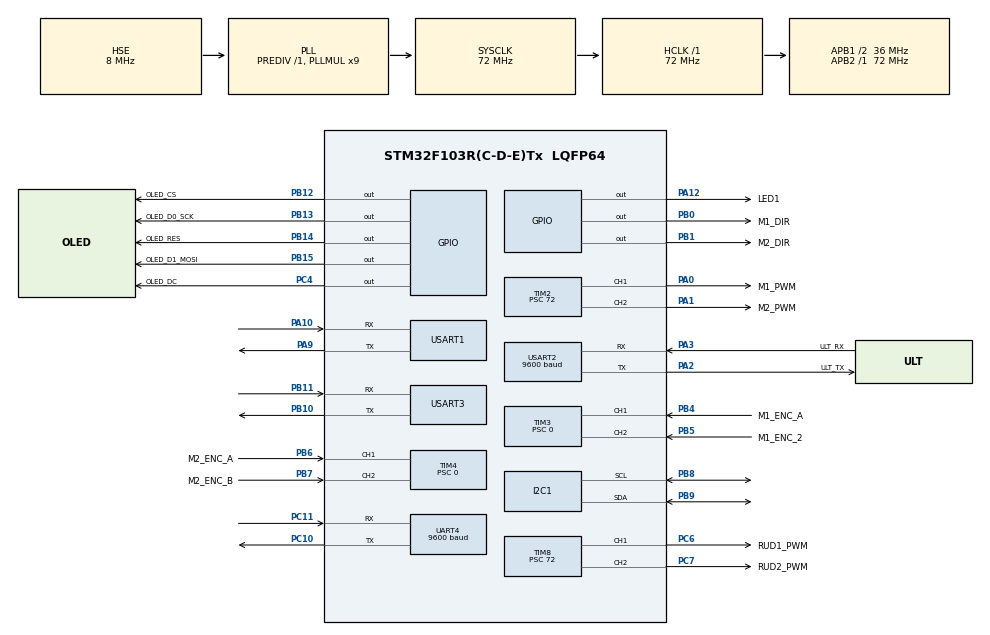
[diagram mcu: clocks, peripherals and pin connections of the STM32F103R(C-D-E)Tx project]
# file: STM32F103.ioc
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Dma.Request0=USART1_RX
Dma.Request1=USART1_TX
Dma.Request2=USART3_RX
Dma.Request3=USART3_TX
Dma.Request4=USART2_RX
Dma.Request5=USART2_TX
Dma.Request6=UART4_RX
Dma.Request7=UART4_TX
Dma.UART4_RX.6.Direction=DMA_PERIPH_TO_MEMORY
Dma.UART4_RX.6.Instance=DMA2_Channel3
Dma.UART4_RX.6.MemDataAlignment=DMA_MDATAALIGN_BYTE
Dma.UART4_RX.6.MemInc=DMA_MINC_ENABLE
Dma.UART4_RX.6.Mode=DMA_NORMAL
Dma.UART4_RX.6.PeriphDataAlignment=DMA_PDATAALIGN_BYTE
Dma.UART4_RX.6.PeriphInc=DMA_PINC_DISABLE
Dma.UART4_RX.6.Priority=DMA_PRIORITY_LOW
Dma.UART4_TX.7.Direction=DMA_MEMORY_TO_PERIPH
Dma.UART4_TX.7.Instance=DMA2_Channel5
Dma.UART4_TX.7.MemDataAlignment=DMA_MDATAALIGN_BYTE
Dma.UART4_TX.7.MemInc=DMA_MINC_ENABLE
Dma.UART4_TX.7.Mode=DMA_NORMAL
Dma.UART4_TX.7.PeriphDataAlignment=DMA_PDATAALIGN_BYTE
Dma.UART4_TX.7.PeriphInc=DMA_PINC_DISABLE
Dma.UART4_TX.7.Priority=DMA_PRIORITY_LOW
Dma.USART1_RX.0.Direction=DMA_PERIPH_TO_MEMORY
Dma.USART1_RX.0.Instance=DMA1_Channel5
Dma.USART1_RX.0.MemDataAlignment=DMA_MDATAALIGN_BYTE
Dma.USART1_RX.0.MemInc=DMA_MINC_ENABLE
Dma.USART1_RX.0.Mode=DMA_NORMAL
Dma.USART1_RX.0.PeriphDataAlignment=DMA_PDATAALIGN_BYTE
Dma.USART1_RX.0.PeriphInc=DMA_PINC_DISABLE
Dma.USART1_RX.0.Priority=DMA_PRIORITY_LOW
Dma.USART1_TX.1.Direction=DMA_MEMORY_TO_PERIPH
Dma.USART1_TX.1.Instance=DMA1_Channel4
Dma.USART1_TX.1.MemDataAlignment=DMA_MDATAALIGN_BYTE
Dma.USART1_TX.1.MemInc=DMA_MINC_ENABLE
Dma.USART1_TX.1.Mode=DMA_NORMAL
Dma.USART1_TX.1.PeriphDataAlignment=DMA_PDATAALIGN_BYTE
Dma.USART1_TX.1.PeriphInc=DMA_PINC_DISABLE
Dma.USART1_TX.1.Priority=DMA_PRIORITY_LOW
Dma.USART2_RX.4.Direction=DMA_PERIPH_TO_MEMORY
Dma.USART2_RX.4.Instance=DMA1_Channel6
Dma.USART2_RX.4.MemDataAlignment=DMA_MDATAALIGN_BYTE
Dma.USART2_RX.4.MemInc=DMA_MINC_ENABLE
Dma.USART2_RX.4.Mode=DMA_NORMAL
Dma.USART2_RX.4.PeriphDataAlignment=DMA_PDATAALIGN_BYTE
Dma.USART2_RX.4.PeriphInc=DMA_PINC_DISABLE
Dma.USART2_RX.4.Priority=DMA_PRIORITY_LOW
Dma.USART2_TX.5.Direction=DMA_MEMORY_TO_PERIPH
Dma.USART2_TX.5.Instance=DMA1_Channel7
Dma.USART2_TX.5.MemDataAlignment=DMA_MDATAALIGN_BYTE
Dma.USART2_TX.5.MemInc=DMA_MINC_ENABLE
Dma.USART2_TX.5.Mode=DMA_NORMAL
Dma.USART2_TX.5.PeriphDataAlignment=DMA_PDATAALIGN_BYTE
Dma.USART2_TX.5.PeriphInc=DMA_PINC_DISABLE
Dma.USART2_TX.5.Priority=DMA_PRIORITY_LOW
Dma.USART3_RX.2.Direction=DMA_PERIPH_TO_MEMORY
Dma.USART3_RX.2.Instance=DMA1_Channel3
Dma.USART3_RX.2.MemDataAlignment=DMA_MDATAALIGN_BYTE
Dma.USART3_RX.2.MemInc=DMA_MINC_ENABLE
Dma.USART3_RX.2.Mode=DMA_NORMAL
Dma.USART3_RX.2.PeriphDataAlignment=DMA_PDATAALIGN_BYTE
Dma.USART3_RX.2.PeriphInc=DMA_PINC_DISABLE
Dma.USART3_RX.2.Priority=DMA_PRIORITY_LOW
Dma.USART3_TX.3.Direction=DMA_MEMORY_TO_PERIPH
Dma.USART3_TX.3.Instance=DMA1_Channel2
Dma.USART3_TX.3.MemDataAlignment=DMA_MDATAALIGN_BYTE
Dma.USART3_TX.3.MemInc=DMA_MINC_ENABLE
Dma.USART3_TX.3.Mode=DMA_NORMAL
Dma.USART3_TX.3.PeriphDataAlignment=DMA_PDATAALIGN_BYTE
Dma.USART3_TX.3.PeriphInc=DMA_PINC_DISABLE
Dma.USART3_TX.3.Priority=DMA_PRIORITY_LOW
I2C1.OwnAddress=10
Mcu.Family=STM32F1
Mcu.Name=STM32F103R(C-D-E)Tx
Mcu.Package=LQFP64
NVIC.DMA1_Channel2_IRQn=true\:0\:0\:false\:false\:true
NVIC.DMA1_Channel3_IRQn=true\:0\:0\:false\:false\:true
NVIC.DMA1_Channel4_IRQn=true\:0\:0\:false\:false\:true
NVIC.DMA1_Channel5_IRQn=true\:0\:0\:false\:false\:true
NVIC.DMA1_Channel6_IRQn=true\:0\:0\:false\:false\:true
NVIC.DMA1_Channel7_IRQn=true\:0\:0\:false\:false\:true
NVIC.DMA2_Channel3_IRQn=true\:0\:0\:false\:false\:true
NVIC.DMA2_Channel4_5_IRQn=true\:0\:0\:false\:false\:true
NVIC.I2C1_ER_IRQn=true\:0\:0\:false\:false\:true
NVIC.I2C1_EV_IRQn=true\:0\:0\:false\:false\:true
NVIC.PriorityGroup=NVIC_PRIORITYGROUP_4
NVIC.TIM2_IRQn=true\:1\:0\:true\:false\:true
NVIC.TIM3_IRQn=true\:2\:0\:true\:false\:true
NVIC.TIM4_IRQn=true\:3\:0\:true\:false\:true
NVIC.UART4_IRQn=true\:0\:0\:false\:false\:true
NVIC.USART1_IRQn=true\:4\:0\:true\:false\:true
NVIC.USART2_IRQn=true\:6\:0\:true\:false\:true
NVIC.USART3_IRQn=true\:5\:0\:true\:false\:true
PA0-WKUP.GPIO_Label=M1_PWM
PA0-WKUP.Signal=S_TIM2_CH1_ETR
PA1.GPIO_Label=M2_PWM
PA1.Signal=S_TIM2_CH2
PA10.Mode=Asynchronous
PA10.Signal=USART1_RX
PA12.GPIO_Label=LED1
PA12.Signal=GPIO_Output
PA13.Mode=JTAG_4_pins
PA13.Signal=SYS_JTMS-SWDIO
PA14.Mode=JTAG_4_pins
PA14.Signal=SYS_JTCK-SWCLK
PA15.Mode=JTAG_4_pins
PA15.Signal=SYS_JTDI
PA2.GPIO_Label=ULT_TX
PA2.Mode=Asynchronous
PA2.Signal=USART2_TX
PA3.GPIO_Label=ULT_RX
PA3.Mode=Asynchronous
PA3.Signal=USART2_RX
PA9.Mode=Asynchronous
PA9.Signal=USART1_TX
PB0.GPIO_Label=M1_DIR
PB0.Signal=GPIO_Output
PB1.GPIO_Label=M2_DIR
PB1.Signal=GPIO_Output
PB10.Mode=Asynchronous
PB10.Signal=USART3_TX
PB11.Mode=Asynchronous
PB11.Signal=USART3_RX
PB12.GPIO_Label=OLED_CS
PB12.Signal=GPIO_Output
PB13.GPIO_Label=OLED_D0_SCK
PB13.Signal=GPIO_Output
PB14.GPIO_Label=OLED_RES
PB14.Signal=GPIO_Output
PB15.GPIO_Label=OLED_D1_MOSI
PB15.Signal=GPIO_Output
PB3.Mode=JTAG_4_pins
PB3.Signal=SYS_JTDO-TRACESWO
PB4.GPIO_Label=M1_ENC_A
PB4.Signal=S_TIM3_CH1
PB5.GPIO_Label=M1_ENC_2
PB5.Signal=S_TIM3_CH2
PB6.GPIO_Label=M2_ENC_A
PB6.Signal=S_TIM4_CH1
PB7.GPIO_Label=M2_ENC_B
PB7.Signal=S_TIM4_CH2
PB8.Mode=I2C
PB8.Signal=I2C1_SCL
PB9.Mode=I2C
PB9.Signal=I2C1_SDA
PC10.Mode=Asynchronous
PC10.Signal=UART4_TX
PC11.Mode=Asynchronous
PC11.Signal=UART4_RX
PC4.GPIO_Label=OLED_DC
PC4.Signal=GPIO_Output
PC6.GPIO_Label=RUD1_PWM
PC6.Signal=S_TIM8_CH1
PC7.GPIO_Label=RUD2_PWM
PC7.Signal=S_TIM8_CH2
PD0-OSC_IN.Mode=HSE-External-Oscillator
PD0-OSC_IN.Signal=RCC_OSC_IN
PD1-OSC_OUT.Mode=HSE-External-Oscillator
PD1-OSC_OUT.Signal=RCC_OSC_OUT
ProjectManager.HeapSize=0x2000
ProjectManager.StackSize=0x400
ProjectManager.TargetToolchain=MDK-ARM V5
RCC.AHBFreq_Value=72000000
RCC.APB1CLKDivider=RCC_HCLK_DIV2
RCC.APB1Freq_Value=36000000
RCC.APB1TimFreq_Value=72000000
RCC.APB2Freq_Value=72000000
RCC.APB2TimFreq_Value=72000000
RCC.HCLKFreq_Value=72000000
RCC.HSIState=RCC_HSI_ON
RCC.PLLMUL=RCC_PLL_MUL9
RCC.PLLSourceVirtual=RCC_PLLSOURCE_HSE
RCC.SYSCLKFreq_VALUE=72000000
RCC.SYSCLKSource=RCC_SYSCLKSOURCE_PLLCLK
RCC.USBFreq_Value=72000000
SH.S_TIM2_CH1_ETR.0=TIM2_CH1,PWM Generation1 CH1
SH.S_TIM2_CH2.0=TIM2_CH2,PWM Generation2 CH2
SH.S_TIM3_CH1.0=TIM3_CH1,Encoder_Interface
SH.S_TIM3_CH2.0=TIM3_CH2,Encoder_Interface
SH.S_TIM4_CH1.0=TIM4_CH1,Encoder_Interface
SH.S_TIM4_CH2.0=TIM4_CH2,Encoder_Interface
SH.S_TIM8_CH1.0=TIM8_CH1,PWM Generation1 CH1
SH.S_TIM8_CH2.0=TIM8_CH2,PWM Generation2 CH2
TIM2.Channel-PWM\ Generation2\ CH2=TIM_CHANNEL_2
TIM2.OCMode_PWM-PWM\ Generation2\ CH2=TIM_OCMODE_PWM1
TIM2.Period=1000
TIM2.Prescaler=72
TIM3.EncoderMode=TIM_ENCODERMODE_TI12
TIM3.IC1Polarity=TIM_ICPOLARITY_BOTHEDGE
TIM3.IC2Polarity=TIM_ICPOLARITY_BOTHEDGE
TIM3.Period=0xffff
TIM3.Prescaler=0
TIM3.TIM_MasterOutputTrigger=TIM_TRGO_RESET
TIM4.EncoderMode=TIM_ENCODERMODE_TI12
TIM4.IC1Polarity=TIM_ICPOLARITY_BOTHEDGE
TIM4.IC2Polarity=TIM_ICPOLARITY_BOTHEDGE
TIM4.Period=0xffff
TIM4.Prescaler=0
TIM4.TIM_MasterOutputTrigger=TIM_TRGO_RESET
TIM8.Channel-PWM\ Generation2\ CH2=TIM_CHANNEL_2
TIM8.Period=20000
TIM8.Prescaler=72
TIM8.Pulse-PWM\ Generation1\ CH1=0
TIM8.Pulse-PWM\ Generation2\ CH2=0
UART4.BaudRate=9600
USART2.BaudRate=9600
board=STM32F103

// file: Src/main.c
/**
  ******************************************************************************
  * File Name          : main.c
  * Description        : Main program body
  ******************************************************************************
  *
  * COPYRIGHT(c) 2017 STMicroelectronics
  *
  * Redistribution and use in source and binary forms, with or without modification,
  * are permitted provided that the following conditions are met:
  *   1. Redistributions of source code must retain the above copyright notice,
  *      this list of conditions and the following disclaimer.
  *   2. Redistributions in binary form must reproduce the above copyright notice,
  *      this list of conditions and the following disclaimer in the documentation
  *      and/or other materials provided with the distribution.
  *   3. Neither the name of STMicroelectronics nor the names of its contributors
  *      may be used to endorse or promote products derived from this software
  *      without specific prior written permission.
  *
  * THIS SOFTWARE IS PROVIDED BY THE COPYRIGHT HOLDERS AND CONTRIBUTORS "AS IS"
  * AND ANY EXPRESS OR IMPLIED WARRANTIES, INCLUDING, BUT NOT LIMITED TO, THE
  * IMPLIED WARRANTIES OF MERCHANTABILITY AND FITNESS FOR A PARTICULAR PURPOSE ARE
  * DISCLAIMED. IN NO EVENT SHALL THE COPYRIGHT HOLDER OR CONTRIBUTORS BE LIABLE
  * FOR ANY DIRECT, INDIRECT, INCIDENTAL, SPECIAL, EXEMPLARY, OR CONSEQUENTIAL
  * DAMAGES (INCLUDING, BUT NOT LIMITED TO, PROCUREMENT OF SUBSTITUTE GOODS OR
  * SERVICES; LOSS OF USE, DATA, OR PROFITS; OR BUSINESS INTERRUPTION) HOWEVER
  * CAUSED AND ON ANY THEORY OF LIABILITY, WHETHER IN CONTRACT, STRICT LIABILITY,
  * OR TORT (INCLUDING NEGLIGENCE OR OTHERWISE) ARISING IN ANY WAY OUT OF THE USE
  * OF THIS SOFTWARE, EVEN IF ADVISED OF THE POSSIBILITY OF SUCH DAMAGE.
  *
  ******************************************************************************
  */
#include "main.h"
#include "stm32f1xx_hal.h"
#include "dma.h"
#include "i2c.h"
#include "tim.h"
#include "usart.h"
#include "gpio.h"

/* USER CODE BEGIN Includes */
#include "TaskTimeManager.h"
#include "ProtocolFrame.h"
#include "ComBuff.h"
#include "MotorControl.h"
#include "oled.h"
#include "RudderControl.h"
#include "UltrasonicControl.h"
#include "MPU6050.h"
#include "bmp180.h"
/* USER CODE END Includes */

/* USER CODE BEGIN PV */
/* Private variables ---------------------------------------------------------*/

/* USER CODE END PV */

void SystemClock_Config(void);
void Error_Handler(void);

/* USER CODE BEGIN PFP */
/* Private function prototypes -----------------------------------------------*/

/* USER CODE END PFP */

/* USER CODE BEGIN 0 */

void SetPWM(TIM_HandleTypeDef *htim, uint32_t Channel, uint16_t Pwm){
  TIM_OC_InitTypeDef sConfigOC;
	sConfigOC.OCMode = TIM_OCMODE_PWM1;
  sConfigOC.Pulse = Pwm;
  sConfigOC.OCPolarity = TIM_OCPOLARITY_HIGH;
  sConfigOC.OCFastMode = TIM_OCFAST_DISABLE;
  if (HAL_TIM_PWM_ConfigChannel(htim, &sConfigOC, Channel) != HAL_OK)
  {
    Error_Handler();
  }

	HAL_TIM_PWM_Start(htim, Channel);
}

/****************************************************
        函数名: PaddingProtocol
        功能:   从串口缓冲区中读取数据到协议解析器
        作者:   liyao 2016年9月14日10:55:11
****************************************************/
void PaddingProtocol(void){
	#define BUFFSIZE 100
	int8_t cnt = 0;
	uint8_t data[BUFFSIZE] = {0};
	#if PROTOCOL_RESOLVER_1 && UART1_DMA_RECEIVER
    if((cnt = Uart1_DMA_Receiver.ReadTo(&Uart1_DMA_Receiver,0xf8,data,BUFFSIZE))>0)
      ProtocolResolver_1->Protocol_Put(ProtocolResolver_1,data,cnt);
  #endif
	#if PROTOCOL_RESOLVER_2 && UART2_DMA_RECEIVER
		if((cnt = Uart2_DMA_Receiver.Read(&Uart2_DMA_Receiver,data,BUFFSIZE))>0){
			for(uint8_t i = 0; i < cnt; i++)
				Ultrasonic_Recv(Ultrasonic, data[i]);
		}
	#endif
	#if PROTOCOL_RESOLVER_3 && UART3_DMA_RECEIVER
		if((cnt = Uart3_DMA_Receiver.ReadTo(&Uart3_DMA_Receiver,0xf8,data,BUFFSIZE))>0)
			ProtocolResolver_3->Protocol_Put(ProtocolResolver_3,data,cnt);
	#endif
	#if PROTOCOL_RESOLVER_4 && UART4_DMA_RECEIVER
		while(Uart4_DMA_Receiver.ReadByte(&Uart4_DMA_Receiver,data)==0)
			MPU6050->Put_Byte(MPU6050,data[0]);
	#endif
}

void LED_TEST(void){
  static uint8_t seq = 0;
	HAL_GPIO_WritePin(LED1_GPIO_Port, LED1_Pin, (GPIO_PinState)(seq%2));
	//HAL_GPIO_WritePin(LED2_GPIO_Port, LED2_Pin, (GPIO_PinState)seq%2);
	seq++;
	OLED_Buff = MALLOC(100);
	memset(OLED_Buff,0, 100);
	sprintf(OLED_Buff, "LED_TEST:%d\r\n",seq);
	OLED_Clear(1,2);
	OLED_ShowString(0,0,(uint8_t*)OLED_Buff);
  printf("%s",OLED_Buff);
	FREE(OLED_Buff);
	//RudderX->setRudderAngle(RudderX, seq%100+40);
//	if(HAL_OK == (res = HAL_I2C_Mem_Read(&hi2c1, 0xee, chipid_reg, I2C_MEMADD_SIZE_8BIT, &chipid, 1, 1000))){
//			printf("chipid:%x\r\n", chipid);
//	}else{
//		printf("%d\r\n", res);
//	}

//	if(HAL_OK == HAL_I2C_Master_Transmit(&hi2c1, 0xee, &chipid_reg, 1, 100)){
//		printf("请求发送成功\r\n");
//		if(HAL_OK == HAL_I2C_Master_Receive(&hi2c1, 0xee, &chipid, 1, 100)){
//			printf("chipid:%x\r\n", chipid);
//		}
//	}
//				 uint8_t BMP180_ID = BMP180_ReadOneByte(0xd0);      //读取ID地址
         //printf("BMP180_ID:0x%x \r\n",BMP180_ID);
//         long UT = Get_BMP180UT();
//         long UP = Get_BMP180UP();
         //Convert_UncompensatedToTrue(UT,UP);

}

void Fetch_MPU6050(void){
	MPU6050->Get_MPU6050(MPU6050);
	//printf("X:%d,Y:%d,Z:%d\r\n",MPU6050->X,MPU6050->Y,MPU6050->Z);
	OLED_Buff = MALLOC(100);
	memset(OLED_Buff,0, 100);
	sprintf(OLED_Buff, "X:%d,Y:%d,Z:%d\r\n",(uint8_t)MPU6050->X,(uint8_t)MPU6050->Y,(uint8_t)MPU6050->Z);
	OLED_Clear(7,8);
	OLED_ShowString(0,6,(uint8_t*)OLED_Buff);
	//printf("%s",OLED_Buff);
	FREE(OLED_Buff);
}

uint8_t Heart_Flag = 2;
void Heart_Beat(void){
	if(Heart_Flag == 0){
		Heart_Flag = 3;
		motor_L->Motor_Run(motor_L, MOTOR_BRAKE, 0);
		motor_R->Motor_Run(motor_R, MOTOR_BRAKE, 0);
		printf("心跳中断 终止运动\r\n");
	}else if(Heart_Flag == 1){
		Heart_Flag = 0;
	}else if(Heart_Flag == 2){

	}
}
/* USER CODE END 0 */

int main(void)
{

  /* MCU Configuration----------------------------------------------------------*/

  /* Reset of all peripherals, Initializes the Flash interface and the Systick. */
  HAL_Init();

  /* Configure the system clock */
  SystemClock_Config();

  /* Initialize all configured peripherals */
  MX_GPIO_Init();
  MX_DMA_Init();
  MX_USART1_UART_Init();
  MX_TIM2_Init();
  MX_TIM3_Init();
  MX_TIM4_Init();
  MX_USART3_UART_Init();
  MX_TIM8_Init();
  MX_USART2_UART_Init();
  MX_UART4_Init();
  MX_I2C1_Init();

  /* USER CODE BEGIN 2 */
//	__HAL_AFIO_REMAP_SWJ_NONJTRST();
  TaskTime_Init();
  ProtocolFrame_Init();
  Log_Init();
  ComBuff_Init();

	Motor_Init();				//驱动电机初始化
	OLED_Init();				//OLED液晶初始化
	Rudder_Init(); 			//舵机初始化
	MPU6050_Init();			//MPU6050初始化

  TaskTime_Add(TaskID++, TimeCycle(1, 0), LED_TEST, Count_Mode);
  TaskTime_Add(TaskID++, TimeCycle(0,30), SenderKeepTransmit, Count_Mode);
  TaskTime_Add(TaskID++, TimeCycle(0,30), PaddingProtocol, Count_Mode);
	TaskTime_Add(TaskID++, TimeCycle(0,30), FetchProtocols, Count_Mode);
	//------------上报运动状态----------------------
	TaskTime_Add(TaskID++, TimeCycle(0,400), ReportState, Real_Mode);
	//------------电机PID控制----------------------
	TaskTime_Add(TaskID++, TimeCycle(0,75), Motor_PID, Real_Mode);
	//------------舵机----------------------
	TaskTime_Add(TaskID++, TimeCycle(0, 10), Rudder_Run, Real_Mode);
	//------------超声波----------------------
	TaskTime_Add(TaskID++, TimeCycle(0, 50), Ultrasonic_Run, Real_Mode);
	//------------处理MPU6050数据----------------------
	TaskTime_Add(TaskID++, TimeCycle(0, 10), Fetch_MPU6050, Real_Mode);
	//------------心跳检查----------------------
	TaskTime_Add(TaskID++, TimeCycle(0, 500), Heart_Beat, Real_Mode);
	//------------处理BMP180数据----------------------
//	TaskTime_Add(TaskID++, TimeCycle(0, 300), BMP180_Build, Real_Mode);

//	motor_L->Motor_Run(motor_L, MOTOR_UP, 20);
//	motor_R->Motor_Run(motor_R, MOTOR_UP, 20);
  /* USER CODE END 2 */

  /* Infinite loop */
  /* USER CODE BEGIN WHILE */
  while (1)
  {//*
  /* USER CODE END WHILE */

  /* USER CODE BEGIN 3 */
    TaskTime_Run();
  }
  /* USER CODE END 3 */

}

/** System Clock Configuration
*/
void SystemClock_Config(void)
{

  RCC_OscInitTypeDef RCC_OscInitStruct;
  RCC_ClkInitTypeDef RCC_ClkInitStruct;

    /**Initializes the CPU, AHB and APB busses clocks
    */
  RCC_OscInitStruct.OscillatorType = RCC_OSCILLATORTYPE_HSE;
  RCC_OscInitStruct.HSEState = RCC_HSE_ON;
  RCC_OscInitStruct.HSEPredivValue = RCC_HSE_PREDIV_DIV1;
  RCC_OscInitStruct.HSIState = RCC_HSI_ON;
  RCC_OscInitStruct.PLL.PLLState = RCC_PLL_ON;
  RCC_OscInitStruct.PLL.PLLSource = RCC_PLLSOURCE_HSE;
  RCC_OscInitStruct.PLL.PLLMUL = RCC_PLL_MUL9;
  if (HAL_RCC_OscConfig(&RCC_OscInitStruct) != HAL_OK)
  {
    Error_Handler();
  }

    /**Initializes the CPU, AHB and APB busses clocks
    */
  RCC_ClkInitStruct.ClockType = RCC_CLOCKTYPE_HCLK|RCC_CLOCKTYPE_SYSCLK
                              |RCC_CLOCKTYPE_PCLK1|RCC_CLOCKTYPE_PCLK2;
  RCC_ClkInitStruct.SYSCLKSource = RCC_SYSCLKSOURCE_PLLCLK;
  RCC_ClkInitStruct.AHBCLKDivider = RCC_SYSCLK_DIV1;
  RCC_ClkInitStruct.APB1CLKDivider = RCC_HCLK_DIV2;
  RCC_ClkInitStruct.APB2CLKDivider = RCC_HCLK_DIV1;

  if (HAL_RCC_ClockConfig(&RCC_ClkInitStruct, FLASH_LATENCY_2) != HAL_OK)
  {
    Error_Handler();
  }

    /**Configure the Systick interrupt time
    */
  HAL_SYSTICK_Config(HAL_RCC_GetHCLKFreq()/1000);

    /**Configure the Systick
    */
  HAL_SYSTICK_CLKSourceConfig(SYSTICK_CLKSOURCE_HCLK);

  /* SysTick_IRQn interrupt configuration */
  HAL_NVIC_SetPriority(SysTick_IRQn, 0, 0);
}

void Error_Handler(void)
{
  /* USER CODE BEGIN Error_Handler */
  /* User can add his own implementation to report the HAL error return state */
  while(1)
  {
    Log.error("Error_Handler");
  }
  /* USER CODE END Error_Handler */
}

/************************ (C) COPYRIGHT STMicroelectronics *****END OF FILE****/
